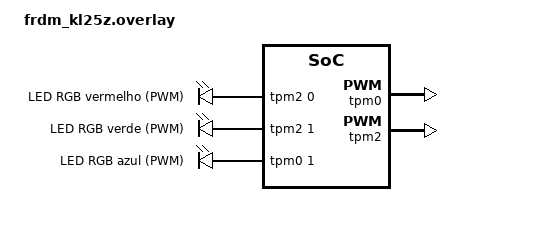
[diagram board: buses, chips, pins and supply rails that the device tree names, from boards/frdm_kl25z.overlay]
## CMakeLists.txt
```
# PSI - Microcontroladores 2 - Controle de LED RGB pela UART (FRDM-KL25Z)
cmake_minimum_required(VERSION 3.20.0)

find_package(Zephyr REQUIRED HINTS $ENV{ZEPHYR_BASE})
project(uart_led)

target_sources(app PRIVATE
  src/main.c
  src/uart_rx.c
  src/led_hw.c
  src/protocolo.c
  src/led_logica.c
)

# O MKL25Z4_features.h do hal_nxp (Zephyr 4.2) nao define a macro
# FSL_FEATURE_TPM_HAS_32BIT_COUNTERn, usada pelo driver fsl_tpm e pelo
# pwm_mcux_tpm. Sem ela o driver PWM (TPM) nao compila para o KL25Z.
# Macro do tipo funcao nao pode ir por -D no CMake, entao forcamos a
# inclusao de um cabecalho que a define (o TPM do KL25Z e de 16 bits).
if(CONFIG_SOC_MKL25Z4 AND CONFIG_PWM_MCUX_TPM)
  zephyr_compile_options(-include ${CMAKE_CURRENT_SOURCE_DIR}/src/kl25z_tpm_fixup.h)
endif()
```

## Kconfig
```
# Opcoes da aplicacao (alteraveis em prj.conf ou com -DCONFIG_...=)
mainmenu "UART-LED: controle do LED RGB pela UART"

config APP_ID_DISPOSITIVO
	hex "ID deste receptor (byte 0 do pacote)"
	range 0x00 0xff
	default 0xa5

config APP_CHECK_CRC8
	bool "Campo CHECK com CRC-8 (bonus); se desligado, usa XOR"
	default y
	help
	  CRC-8 com polinomio 0x07, valor inicial 0x00, sem reflexao e sem
	  XOR final (CRC-8/SMBUS). Com 'n', CHECK = XOR dos 5 primeiros bytes.

config APP_TIMEOUT_BYTE_MS
	int "Timeout entre bytes (ms) para descartar pacote truncado"
	range 5 1000
	default 50

source "Kconfig.zephyr"
```

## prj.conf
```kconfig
# UART0 (console, via USB OpenSDA) em 115200 8N1 - definido no devicetree da placa
CONFIG_SERIAL=y
CONFIG_UART_INTERRUPT_DRIVEN=y
CONFIG_PRINTK=y
CONFIG_MAIN_STACK_SIZE=2048

# LED RGB: PWM (TPM) se o overlay definir os aliases; senao GPIO
CONFIG_GPIO=y
CONFIG_PWM=y

# Opcoes da aplicacao (ver Kconfig)
CONFIG_APP_ID_DISPOSITIVO=0xa5
CONFIG_APP_CHECK_CRC8=y
CONFIG_APP_TIMEOUT_BYTE_MS=50
```

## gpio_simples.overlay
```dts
/*
 * Overlay alternativo SEM PWM: o LED RGB e controlado por GPIO (liga/desliga;
 * qualquer intensidade > 0 acende o canal). Uso:
 *   west build -p always -b frdm_kl25z . -- -DDTC_OVERLAY_FILE=gpio_simples.overlay
 * (DTC_OVERLAY_FILE substitui o boards/frdm_kl25z.overlay, que tem o PWM.)
 */
/ {
};
```

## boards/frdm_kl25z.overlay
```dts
/*
 * Bonus PWM: o LED RGB da FRDM-KL25Z ligado aos TPMs.
 *
 * O devicetree do SoC no Zephyr 4.2 (dts/arm/nxp/nxp_kl25z.dtsi) nao tem
 * nos de TPM, entao eles sao declarados aqui. Pinos (manual da placa e
 * MKL25Z128VLK4-pinctrl.h do hal_nxp):
 *   vermelho PTB18 = TPM2_CH0 (ALT3)
 *   verde    PTB19 = TPM2_CH1 (ALT3)
 *   azul     PTD1  = TPM0_CH1 (ALT4)
 * LEDs ativos em nivel baixo -> PWM_POLARITY_INVERTED.
 *
 * Relogio do contador: SIM_SOPT2[TPMSRC] = MCGPLLCLK/2 = 48 MHz (feito em
 * led_hw.c). A frequencia informada ao driver e a do clock do nucleo
 * (KINETIS_SIM_CORESYS_CLK = 48 MHz), igual a fonte escolhida.
 * Prescaler 16 -> 3 MHz; periodo 1 ms (1 kHz) -> 3000 passos.
 */
#include <zephyr/dt-bindings/pwm/pwm.h>

&pinctrl {
	tpm0_default: tpm0_default {
		group0 {
			pinmux = <TPM0_CH1_PTD1>;
			drive-strength = "low";
			slew-rate = "slow";
		};
	};

	tpm2_default: tpm2_default {
		group0 {
			pinmux = <TPM2_CH0_PTB18>,
				 <TPM2_CH1_PTB19>;
			drive-strength = "low";
			slew-rate = "slow";
		};
	};
};

/ {
	soc {
		tpm0: pwm@40038000 {
			compatible = "nxp,kinetis-tpm";
			reg = <0x40038000 0x88>;
			interrupts = <17 0>;
			clocks = <&sim KINETIS_SIM_CORESYS_CLK 0x103C 24>;
			prescaler = <16>;
			#pwm-cells = <3>;
			pinctrl-0 = <&tpm0_default>;
			pinctrl-names = "default";
			status = "okay";
		};

		tpm2: pwm@4003a000 {
			compatible = "nxp,kinetis-tpm";
			reg = <0x4003a000 0x88>;
			interrupts = <19 0>;
			clocks = <&sim KINETIS_SIM_CORESYS_CLK 0x103C 26>;
			prescaler = <16>;
			#pwm-cells = <3>;
			pinctrl-0 = <&tpm2_default>;
			pinctrl-names = "default";
			status = "okay";
		};
	};

	pwmleds {
		compatible = "pwm-leds";
		red_pwm_led: pwm_led_r {
			pwms = <&tpm2 0 PWM_MSEC(1) PWM_POLARITY_INVERTED>;
			label = "LED RGB vermelho (PWM)";
		};
		green_pwm_led: pwm_led_g {
			pwms = <&tpm2 1 PWM_MSEC(1) PWM_POLARITY_INVERTED>;
			label = "LED RGB verde (PWM)";
		};
		blue_pwm_led: pwm_led_b {
			pwms = <&tpm0 1 PWM_MSEC(1) PWM_POLARITY_INVERTED>;
			label = "LED RGB azul (PWM)";
		};
	};

	aliases {
		red-pwm-led = &red_pwm_led;
		green-pwm-led = &green_pwm_led;
		blue-pwm-led = &blue_pwm_led;
	};
};
```

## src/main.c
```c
/*
 * PSI - Microcontroladores 2 - Controle do LED RGB pela UART (FRDM-KL25Z)
 *
 * Fluxo:
 *   UART0 RX --ISR--> k_msgq (bytes) --> thread main: receptor do protocolo
 *   (timeout entre bytes) --> acao no LED (led_hw) + resposta em texto.
 *
 * Pacote: ID | R | G | B | ACAO | CHECK   (115200 8N1)
 */
#include <zephyr/kernel.h>
#include <zephyr/sys/printk.h>

#include "led_hw.h"
#include "protocolo.h"
#include "uart_rx.h"

#if defined(CONFIG_APP_CHECK_CRC8)
#define MODO_CHECK PROTO_CHECK_CRC8
#define NOME_CHECK "CRC-8"
#else
#define MODO_CHECK PROTO_CHECK_XOR
#define NOME_CHECK "XOR"
#endif

int main(void)
{
	static struct proto_receptor rx;
	struct proto_evento ev;
	char linha[64];
	int ret;

	ret = led_hw_init();
	if (ret < 0) {
		printk("ERRO: LED nao inicializou (%d)\n", ret);
		return 0;
	}
	ret = uart_rx_init();
	if (ret < 0) {
		printk("ERRO: UART RX nao inicializou (%d)\n", ret);
		return 0;
	}
	proto_init(&rx, CONFIG_APP_ID_DISPOSITIVO, MODO_CHECK);

	printk("UART-LED pronto | ID=0x%02X | CHECK=%s | timeout=%d ms | saida=%s\n",
	       CONFIG_APP_ID_DISPOSITIVO, NOME_CHECK, CONFIG_APP_TIMEOUT_BYTE_MS, led_hw_modo());

	for (;;) {
		enum proto_resultado res;
		uint8_t c;

		/* espera o proximo byte por no maximo TIMEOUT ms; se nao vier
		 * nada e havia um pacote pela metade, ele e descartado */
		if (uart_rx_ler(&c, K_MSEC(CONFIG_APP_TIMEOUT_BYTE_MS)) == 0) {
			res = proto_alimentar(&rx, c, &ev);
		} else {
			res = proto_timeout(&rx, &ev);
		}

		if (res == PROTO_INCOMPLETO) {
			continue;
		}
		if (res == PROTO_OK) {
			led_hw_executar(ev.pac.acao, ev.pac.r, ev.pac.g, ev.pac.b);
		}
		proto_descrever(&ev, linha, sizeof(linha));
		printk("%s\n", linha);
	}
	return 0;
}
```

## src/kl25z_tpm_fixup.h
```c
/*
 * kl25z_tpm_fixup.h - Incluido em todos os arquivos quando o PWM por TPM
 * esta habilitado no KL25Z (ver CMakeLists.txt).
 *
 * O MKL25Z4_features.h do hal_nxp nao define esta macro, que o fsl_tpm.h
 * usa em TPM_MAX_COUNTER_VALUE() e TPM_SetTimerPeriod(). Os TPM do KL25Z
 * tem contador de 16 bits, portanto o valor correto e 0.
 */
#ifndef KL25Z_TPM_FIXUP_H_
#define KL25Z_TPM_FIXUP_H_

#ifndef FSL_FEATURE_TPM_HAS_32BIT_COUNTERn
#define FSL_FEATURE_TPM_HAS_32BIT_COUNTERn(x) (0)
#endif

#endif
```

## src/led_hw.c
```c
/*
 * led_hw.c - Aciona o LED RGB da FRDM-KL25Z conforme led_logica.
 *
 *  - Modo PWM (bonus): se o devicetree tem os aliases red/green/blue-pwm-led
 *    (boards/frdm_kl25z.overlay), a intensidade 0..255 vira largura de pulso.
 *  - Modo GPIO: sem os aliases, usa os nos red_led/green_led/blue_led da
 *    placa; canal aceso se intensidade > 0.
 *
 * Pisca: um k_timer periodico (meio periodo = 1 s ou 2 s) submete um k_work;
 * o work alterna a fase e atualiza os pinos em contexto de thread. O estado
 * e protegido por mutex (a thread de protocolo tambem o altera).
 */
#include "led_hw.h"

#include <zephyr/device.h>
#include <zephyr/init.h>
#include <zephyr/kernel.h>

#include "led_logica.h"

#if DT_HAS_ALIAS(red_pwm_led) && DT_HAS_ALIAS(green_pwm_led) && DT_HAS_ALIAS(blue_pwm_led)
#define USA_PWM 1
#include <zephyr/drivers/pwm.h>

static const struct pwm_dt_spec canais[3] = {
	PWM_DT_SPEC_GET(DT_ALIAS(red_pwm_led)),
	PWM_DT_SPEC_GET(DT_ALIAS(green_pwm_led)),
	PWM_DT_SPEC_GET(DT_ALIAS(blue_pwm_led)),
};

#if defined(CONFIG_SOC_MKL25Z4)
#include <fsl_clock.h>
/*
 * Fonte do contador dos TPM: SIM_SOPT2[TPMSRC] = 1 -> MCGFLLCLK ou
 * MCGPLLCLK/2 (a placa seleciona PLL: 96 MHz / 2 = 48 MHz). Sem isso o
 * TPMSRC fica 0 (clock desligado) e o PWM nao gira. Roda antes da
 * inicializacao do driver PWM (POST_KERNEL).
 */
static int kl25z_tpm_clock_init(void)
{
	CLOCK_SetTpmClock(1U);
	return 0;
}
SYS_INIT(kl25z_tpm_clock_init, PRE_KERNEL_1, 0);
#endif

#else
#define USA_PWM 0
#include <zephyr/drivers/gpio.h>

static const struct gpio_dt_spec canais[3] = {
	GPIO_DT_SPEC_GET(DT_NODELABEL(red_led), gpios),
	GPIO_DT_SPEC_GET(DT_NODELABEL(green_led), gpios),
	GPIO_DT_SPEC_GET(DT_NODELABEL(blue_led), gpios),
};
#endif

static struct led_estado estado;
K_MUTEX_DEFINE(mtx_led);

static void escrever_saida(void)
{
	uint8_t v[3];

	led_logica_saida(&estado, v);
	for (int i = 0; i < 3; i++) {
#if USA_PWM
		uint32_t pulso = (uint32_t)(((uint64_t)canais[i].period * v[i]) / 255U);

		(void)pwm_set_pulse_dt(&canais[i], pulso);
#else
		(void)gpio_pin_set_dt(&canais[i], v[i] > 0U);
#endif
	}
}

static void pisca_work_fn(struct k_work *w)
{
	ARG_UNUSED(w);
	k_mutex_lock(&mtx_led, K_FOREVER);
	led_logica_tick(&estado);
	escrever_saida();
	k_mutex_unlock(&mtx_led);
}

K_WORK_DEFINE(pisca_work, pisca_work_fn);

/* roda em contexto de interrupcao: so agenda o trabalho */
static void pisca_timer_fn(struct k_timer *t)
{
	ARG_UNUSED(t);
	k_work_submit(&pisca_work);
}

K_TIMER_DEFINE(pisca_timer, pisca_timer_fn, NULL);

int led_hw_init(void)
{
	led_logica_init(&estado);
	for (int i = 0; i < 3; i++) {
#if USA_PWM
		if (!pwm_is_ready_dt(&canais[i])) {
			return -ENODEV;
		}
#else
		if (!gpio_is_ready_dt(&canais[i])) {
			return -ENODEV;
		}
		int ret = gpio_pin_configure_dt(&canais[i], GPIO_OUTPUT_INACTIVE);

		if (ret < 0) {
			return ret;
		}
#endif
	}
	escrever_saida(); /* comeca apagado */
	return 0;
}

void led_hw_executar(uint8_t acao, uint8_t r, uint8_t g, uint8_t b)
{
	uint16_t meio_ms;

	k_mutex_lock(&mtx_led, K_FOREVER);
	meio_ms = led_logica_aplicar(&estado, acao, r, g, b);
	/* reinicia o pisca do zero e descarta um tick antigo ainda pendente */
	k_timer_stop(&pisca_timer);
	(void)k_work_cancel(&pisca_work);
	if (meio_ms != 0U) {
		k_timer_start(&pisca_timer, K_MSEC(meio_ms), K_MSEC(meio_ms));
	}
	escrever_saida();
	k_mutex_unlock(&mtx_led);
}

const char *led_hw_modo(void)
{
	return USA_PWM ? "PWM" : "GPIO";
}
```

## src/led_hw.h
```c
/*
 * led_hw.h - Saida no LED RGB onboard (PWM por TPM, ou GPIO) e pisca por
 * k_timer.
 */
#ifndef LED_HW_H_
#define LED_HW_H_

#include <stdint.h>

int led_hw_init(void);
void led_hw_executar(uint8_t acao, uint8_t r, uint8_t g, uint8_t b);
const char *led_hw_modo(void); /* "PWM" ou "GPIO" */

#endif
```

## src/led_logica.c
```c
/*
 * led_logica.c - Maquina de estados do LED RGB (logica pura, sem Zephyr).
 */
#include "led_logica.h"

#include "protocolo.h"

void led_logica_init(struct led_estado *e)
{
	e->cor[0] = 255U;
	e->cor[1] = 255U;
	e->cor[2] = 255U;
	e->ligado = false;
	e->meio_periodo_ms = 0U;
	e->fase_acesa = false;
}

static void definir_cor(struct led_estado *e, uint8_t r, uint8_t g, uint8_t b)
{
	if ((r | g | b) != 0U) {
		e->cor[0] = r;
		e->cor[1] = g;
		e->cor[2] = b;
	}
}

uint16_t led_logica_aplicar(struct led_estado *e, uint8_t acao, uint8_t r, uint8_t g,
			    uint8_t b)
{
	switch (acao) {
	case ACAO_LIGAR:
		definir_cor(e, r, g, b);
		e->ligado = true;
		e->meio_periodo_ms = 0U;
		break;
	case ACAO_DESLIGAR:
		e->ligado = false;
		e->meio_periodo_ms = 0U;
		break;
	case ACAO_TOGGLE:
		e->meio_periodo_ms = 0U;
		if (e->ligado) {
			e->ligado = false;
		} else {
			definir_cor(e, r, g, b);
			e->ligado = true;
		}
		break;
	case ACAO_PISCA_1S:
	case ACAO_PISCA_2S:
		definir_cor(e, r, g, b);
		e->ligado = true;
		e->meio_periodo_ms = (acao == ACAO_PISCA_1S) ? LED_MEIO_PERIODO_PISCA_1S_MS
							     : LED_MEIO_PERIODO_PISCA_2S_MS;
		break;
	default:
		/* acao desconhecida: estado inalterado (o protocolo ja filtra) */
		break;
	}
	e->fase_acesa = e->ligado; /* pisca sempre comeca aceso */
	return e->meio_periodo_ms;
}

void led_logica_tick(struct led_estado *e)
{
	if (e->ligado && (e->meio_periodo_ms != 0U)) {
		e->fase_acesa = !e->fase_acesa;
	}
}

void led_logica_saida(const struct led_estado *e, uint8_t rgb[3])
{
	bool aceso = e->ligado && ((e->meio_periodo_ms == 0U) || e->fase_acesa);

	for (int i = 0; i < 3; i++) {
		rgb[i] = aceso ? e->cor[i] : 0U;
	}
}
```

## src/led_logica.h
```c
/*
 * led_logica.h - Estado do LED RGB e efeito de cada acao (logica pura).
 *
 * Regras:
 *  - LIGAR: acende com a cor (R,G,B) e para de piscar.
 *  - DESLIGAR: apaga e para de piscar (a cor e lembrada).
 *  - TOGGLE: se aceso (ou piscando) apaga; se apagado acende com (R,G,B).
 *  - PISCA_1S / PISCA_2S: pisca com a cor (R,G,B); o LED troca de estado a
 *    cada 1 s / 2 s (1 s aceso, 1 s apagado; ou 2 s aceso, 2 s apagado).
 *  - Se R=G=B=0 numa acao que acende, usa-se a ultima cor (inicial: branco).
 */
#ifndef LED_LOGICA_H_
#define LED_LOGICA_H_

#include <stdbool.h>
#include <stdint.h>

#define LED_MEIO_PERIODO_PISCA_1S_MS 1000U
#define LED_MEIO_PERIODO_PISCA_2S_MS 2000U

struct led_estado {
	uint8_t cor[3];          /* R, G, B (0..255) */
	bool ligado;             /* aceso fixo ou piscando */
	uint16_t meio_periodo_ms; /* 0 = nao pisca */
	bool fase_acesa;         /* fase atual do pisca */
};

void led_logica_init(struct led_estado *e);
/* Aplica a acao; retorna o meio periodo do pisca em ms (0 = parar timer). */
uint16_t led_logica_aplicar(struct led_estado *e, uint8_t acao, uint8_t r, uint8_t g,
			    uint8_t b);
/* Chamado a cada meio periodo pelo timer: alterna a fase se estiver piscando. */
void led_logica_tick(struct led_estado *e);
/* Intensidade que deve sair em cada canal agora (0 = apagado). */
void led_logica_saida(const struct led_estado *e, uint8_t rgb[3]);

#endif /* LED_LOGICA_H_ */
```

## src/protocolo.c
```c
/*
 * protocolo.c - Receptor do protocolo de 6 bytes (logica pura, sem Zephyr).
 *
 * Enquadramento:
 *  - Os bytes sao acumulados em buf[] ate completar 6.
 *  - Com 6 bytes o quadro e validado na ordem: ID -> CHECK -> ACAO.
 *  - Quadro valido (ou integro com acao desconhecida): buf e esvaziado.
 *  - ID ou CHECK invalido: ressincronizacao por janela deslizante. Procura-se
 *    o proximo byte igual ao ID dentro de buf[1..5]; se existir, os bytes a
 *    partir dele viram o inicio do proximo quadro (nao se perde um pacote bom
 *    que veio "colado" depois de lixo). Se nao existir, buf e esvaziado.
 *  - Timeout entre bytes (chamado pela aplicacao): se havia bytes parciais,
 *    eles sao descartados e reportados como pacote truncado.
 */
#include "protocolo.h"

#include <stdio.h>
#include <string.h>

uint8_t proto_xor(const uint8_t *dados, size_t n)
{
	uint8_t x = 0U;

	for (size_t i = 0; i < n; i++) {
		x ^= dados[i];
	}
	return x;
}

/*
 * CRC-8 "classico": polinomio x^8 + x^2 + x + 1 (0x07), valor inicial 0x00,
 * sem reflexao e sem XOR final (catalogado como CRC-8/SMBUS, tambem chamado
 * CRC-8/ATM). Valor de verificacao: CRC("123456789") = 0xF4.
 * Implementacao bit a bit (sem tabela) para economizar flash.
 */
uint8_t proto_crc8(const uint8_t *dados, size_t n)
{
	uint8_t crc = 0x00U;

	for (size_t i = 0; i < n; i++) {
		crc ^= dados[i];
		for (int bit = 0; bit < 8; bit++) {
			if ((crc & 0x80U) != 0U) {
				crc = (uint8_t)((crc << 1) ^ 0x07U);
			} else {
				crc = (uint8_t)(crc << 1);
			}
		}
	}
	return crc;
}

uint8_t proto_calcular_check(enum proto_modo_check modo, const uint8_t *dados5)
{
	return (modo == PROTO_CHECK_CRC8) ? proto_crc8(dados5, PROTO_TAM_DADOS)
					  : proto_xor(dados5, PROTO_TAM_DADOS);
}

bool proto_acao_valida(uint8_t acao)
{
	return (acao >= ACAO_LIGAR) && (acao <= ACAO_PISCA_2S);
}

const char *proto_nome_acao(uint8_t acao)
{
	switch (acao) {
	case ACAO_LIGAR:
		return "LIGAR";
	case ACAO_DESLIGAR:
		return "DESLIGAR";
	case ACAO_TOGGLE:
		return "TOGGLE";
	case ACAO_PISCA_1S:
		return "PISCA_1S";
	case ACAO_PISCA_2S:
		return "PISCA_2S";
	default:
		return "?";
	}
}

void proto_montar(uint8_t out[PROTO_TAM_PACOTE], uint8_t id, uint8_t r, uint8_t g,
		  uint8_t b, uint8_t acao, enum proto_modo_check modo)
{
	out[0] = id;
	out[1] = r;
	out[2] = g;
	out[3] = b;
	out[4] = acao;
	out[5] = proto_calcular_check(modo, out);
}

void proto_init(struct proto_receptor *rx, uint8_t id, enum proto_modo_check modo)
{
	memset(rx, 0, sizeof(*rx));
	rx->id_esperado = id;
	rx->modo = modo;
}

static void preencher_evento(const struct proto_receptor *rx, struct proto_evento *ev,
			     enum proto_resultado res)
{
	ev->res = res;
	ev->pac.id = rx->buf[0];
	ev->pac.r = rx->buf[1];
	ev->pac.g = rx->buf[2];
	ev->pac.b = rx->buf[3];
	ev->pac.acao = rx->buf[4];
	ev->pac.check = rx->buf[5];
	ev->id_esperado = rx->id_esperado;
	ev->check_calc = proto_calcular_check(rx->modo, rx->buf);
	ev->n_bytes = rx->len;
}

/* Descarta o quadro atual, mantendo os bytes a partir do proximo ID. */
static void ressincronizar(struct proto_receptor *rx)
{
	uint8_t k;

	for (k = 1U; k < rx->len; k++) {
		if (rx->buf[k] == rx->id_esperado) {
			break;
		}
	}
	rx->len = (uint8_t)(rx->len - k);
	memmove(rx->buf, &rx->buf[k], rx->len);
}

enum proto_resultado proto_alimentar(struct proto_receptor *rx, uint8_t byte,
				     struct proto_evento *ev)
{
	enum proto_resultado res;

	rx->st.bytes++;
	rx->buf[rx->len++] = byte;

	if (rx->len < PROTO_TAM_PACOTE) {
		return PROTO_INCOMPLETO;
	}

	if (rx->buf[0] != rx->id_esperado) {
		res = PROTO_ERR_ID;
	} else if (rx->buf[5] != proto_calcular_check(rx->modo, rx->buf)) {
		res = PROTO_ERR_CHECK;
	} else if (!proto_acao_valida(rx->buf[4])) {
		res = PROTO_ERR_ACAO;
	} else {
		res = PROTO_OK;
	}

	preencher_evento(rx, ev, res);

	switch (res) {
	case PROTO_OK:
		rx->st.ok++;
		rx->len = 0U;
		break;
	case PROTO_ERR_ACAO:
		/* quadro integro (ID e CHECK conferem): nao ha o que ressincronizar */
		rx->st.err_acao++;
		rx->len = 0U;
		break;
	case PROTO_ERR_ID:
		rx->st.err_id++;
		ressincronizar(rx);
		break;
	default: /* PROTO_ERR_CHECK */
		rx->st.err_check++;
		ressincronizar(rx);
		break;
	}
	return res;
}

enum proto_resultado proto_timeout(struct proto_receptor *rx, struct proto_evento *ev)
{
	if (rx->len == 0U) {
		return PROTO_INCOMPLETO;
	}
	/* zera o restante do buffer so para o evento ficar limpo */
	memset(&rx->buf[rx->len], 0, PROTO_TAM_PACOTE - rx->len);
	preencher_evento(rx, ev, PROTO_ERR_TRUNCADO);
	rx->st.err_truncado++;
	rx->len = 0U;
	return PROTO_ERR_TRUNCADO;
}

int proto_descrever(const struct proto_evento *ev, char *out, size_t tam)
{
	switch (ev->res) {
	case PROTO_OK:
		if (ev->pac.acao == ACAO_DESLIGAR) {
			return snprintf(out, tam, "OK DESLIGAR");
		}
		return snprintf(out, tam, "OK %s R=%u G=%u B=%u", proto_nome_acao(ev->pac.acao),
				ev->pac.r, ev->pac.g, ev->pac.b);
	case PROTO_ERR_ID:
		return snprintf(out, tam, "ERR ID recebido=0x%02X esperado=0x%02X", ev->pac.id,
				ev->id_esperado);
	case PROTO_ERR_CHECK:
		return snprintf(out, tam, "ERR CHECK recebido=0x%02X calculado=0x%02X",
				ev->pac.check, ev->check_calc);
	case PROTO_ERR_ACAO:
		return snprintf(out, tam, "ERR ACAO 0x%02X desconhecida", ev->pac.acao);
	case PROTO_ERR_TRUNCADO:
		return snprintf(out, tam, "ERR TRUNCADO %u byte(s) descartado(s)", ev->n_bytes);
	default:
		return snprintf(out, tam, "?");
	}
}
```

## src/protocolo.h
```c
/*
 * protocolo.h - Protocolo fixo de 6 bytes para controle do LED RGB.
 *
 *   | ID | R | G | B | ACAO | CHECK |
 *
 * Este modulo e logica PURA (C99, sem Zephyr): pode ser compilado e testado
 * no PC. O receptor e alimentado byte a byte e informa quando um pacote foi
 * aceito ou descartado (ID errado, CHECK errado, acao desconhecida ou
 * pacote truncado por timeout).
 */
#ifndef PROTOCOLO_H_
#define PROTOCOLO_H_

#include <stdbool.h>
#include <stddef.h>
#include <stdint.h>

#define PROTO_TAM_PACOTE 6U
#define PROTO_TAM_DADOS  5U /* bytes cobertos pelo CHECK: ID R G B ACAO */

/* Codigos do campo ACAO */
enum proto_acao {
	ACAO_LIGAR = 0x01,
	ACAO_DESLIGAR = 0x02,
	ACAO_TOGGLE = 0x03,
	ACAO_PISCA_1S = 0x04,
	ACAO_PISCA_2S = 0x05,
};

/* Como o campo CHECK e calculado */
enum proto_modo_check {
	PROTO_CHECK_XOR = 0,  /* XOR dos 5 primeiros bytes (enunciado) */
	PROTO_CHECK_CRC8 = 1, /* CRC-8 poly 0x07, init 0x00 (bonus) */
};

/* Resultado de cada chamada do receptor */
enum proto_resultado {
	PROTO_INCOMPLETO = 0, /* nada a fazer ainda */
	PROTO_OK,             /* pacote valido: executar a acao */
	PROTO_ERR_ID,         /* byte 0 diferente do ID deste receptor */
	PROTO_ERR_CHECK,      /* CHECK recebido != CHECK calculado */
	PROTO_ERR_ACAO,       /* pacote integro, mas acao desconhecida */
	PROTO_ERR_TRUNCADO,   /* timeout com pacote incompleto */
};

struct proto_pacote {
	uint8_t id;
	uint8_t r;
	uint8_t g;
	uint8_t b;
	uint8_t acao;
	uint8_t check;
};

/* Descreve o que aconteceu (para executar a acao e montar a resposta) */
struct proto_evento {
	enum proto_resultado res;
	struct proto_pacote pac; /* bytes do quadro avaliado */
	uint8_t id_esperado;
	uint8_t check_calc;      /* CHECK calculado localmente */
	uint8_t n_bytes;         /* bytes descartados (truncado) */
};

struct proto_stats {
	uint32_t bytes;
	uint32_t ok;
	uint32_t err_id;
	uint32_t err_check;
	uint32_t err_acao;
	uint32_t err_truncado;
};

struct proto_receptor {
	uint8_t id_esperado;
	enum proto_modo_check modo;
	uint8_t buf[PROTO_TAM_PACOTE];
	uint8_t len;
	struct proto_stats st;
};

/* Checksums */
uint8_t proto_xor(const uint8_t *dados, size_t n);
uint8_t proto_crc8(const uint8_t *dados, size_t n);
uint8_t proto_calcular_check(enum proto_modo_check modo, const uint8_t *dados5);

/* Receptor */
void proto_init(struct proto_receptor *rx, uint8_t id, enum proto_modo_check modo);
enum proto_resultado proto_alimentar(struct proto_receptor *rx, uint8_t byte,
				     struct proto_evento *ev);
enum proto_resultado proto_timeout(struct proto_receptor *rx, struct proto_evento *ev);

/* Utilitarios */
bool proto_acao_valida(uint8_t acao);
const char *proto_nome_acao(uint8_t acao); /* "?" se invalida */
void proto_montar(uint8_t out[PROTO_TAM_PACOTE], uint8_t id, uint8_t r, uint8_t g,
		  uint8_t b, uint8_t acao, enum proto_modo_check modo);
int proto_descrever(const struct proto_evento *ev, char *out, size_t tam);

#endif /* PROTOCOLO_H_ */
```

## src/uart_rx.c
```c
/*
 * uart_rx.c - UART0 (console, OpenSDA/USB) recebida por interrupcao.
 *
 * A mesma UART0 do console e usada para os pacotes (entrada) e para as
 * respostas em texto (saida via printk). Assim basta o cabo USB da placa.
 * O console do Zephyr so escreve (uart_poll_out); a recepcao e nossa.
 */
#include "uart_rx.h"

#include <zephyr/device.h>
#include <zephyr/drivers/uart.h>
#include <zephyr/sys/atomic.h>

#define TAM_FILA 128 /* ~11 ms de dados a 115200 bps */

K_MSGQ_DEFINE(fila_rx, sizeof(uint8_t), TAM_FILA, 1);

static const struct device *const uart_dev = DEVICE_DT_GET(DT_CHOSEN(zephyr_console));
static atomic_t perdidos;
static atomic_t erros_linha;

static void uart_isr(const struct device *dev, void *user_data)
{
	uint8_t c;

	ARG_UNUSED(user_data);

	if (!uart_irq_update(dev)) {
		return;
	}
	/* le e limpa overrun/framing/ruido: com overrun pendente a UART0 do
	 * KL25Z para de receber, entao isso evita travar a recepcao */
	if (uart_err_check(dev) != 0) {
		atomic_inc(&erros_linha);
	}
	if (!uart_irq_rx_ready(dev)) {
		return;
	}
	while (uart_fifo_read(dev, &c, 1) == 1) {
		/* ISR nunca bloqueia: se a fila estiver cheia, descarta e conta */
		if (k_msgq_put(&fila_rx, &c, K_NO_WAIT) != 0) {
			atomic_inc(&perdidos);
		}
	}
}

int uart_rx_init(void)
{
	int ret;

	if (!device_is_ready(uart_dev)) {
		return -ENODEV;
	}
	ret = uart_irq_callback_user_data_set(uart_dev, uart_isr, NULL);
	if (ret < 0) {
		return ret; /* -ENOTSUP / -ENOSYS: driver sem modo por interrupcao */
	}
	uart_irq_rx_enable(uart_dev);
	return 0;
}

int uart_rx_ler(uint8_t *byte, k_timeout_t timeout)
{
	return k_msgq_get(&fila_rx, byte, timeout);
}

uint32_t uart_rx_bytes_perdidos(void)
{
	return (uint32_t)atomic_get(&perdidos);
}

uint32_t uart_rx_erros_linha(void)
{
	return (uint32_t)atomic_get(&erros_linha);
}
```

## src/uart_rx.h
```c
/*
 * uart_rx.h - Recepcao de bytes da UART por interrupcao.
 * A ISR coloca cada byte recebido numa fila (k_msgq); a thread de protocolo
 * le da fila com timeout curto.
 */
#ifndef UART_RX_H_
#define UART_RX_H_

#include <stdint.h>
#include <zephyr/kernel.h>

int uart_rx_init(void);
/* 0 = byte lido; -EAGAIN = timeout sem bytes */
int uart_rx_ler(uint8_t *byte, k_timeout_t timeout);
/* contadores de diagnostico (fila cheia / erros de linha: overrun, framing) */
uint32_t uart_rx_bytes_perdidos(void);
uint32_t uart_rx_erros_linha(void);

#endif
```
